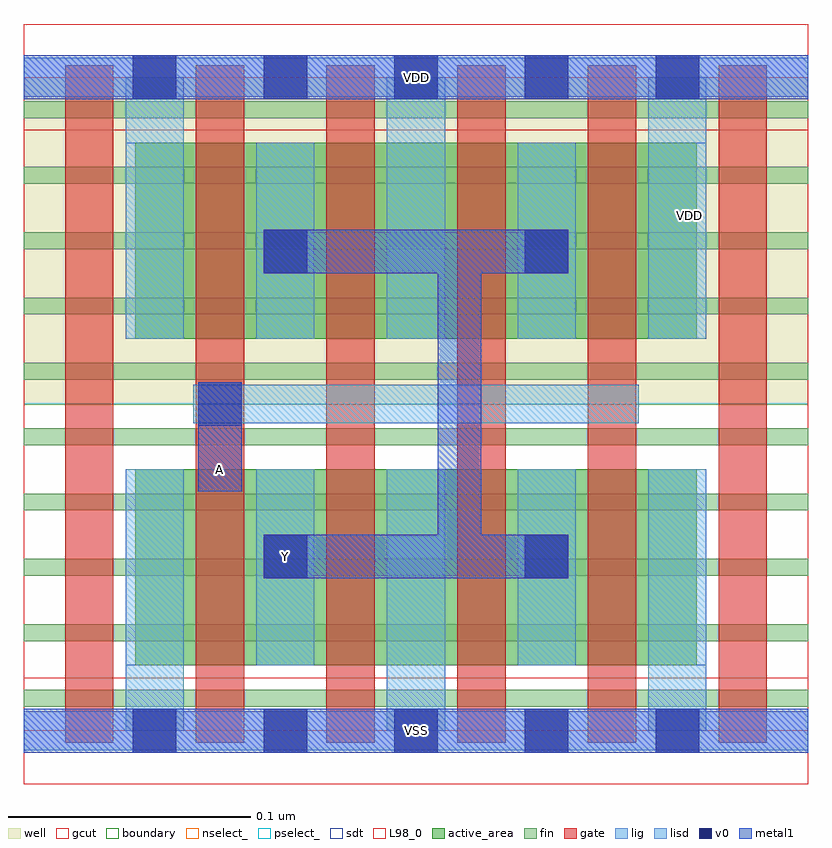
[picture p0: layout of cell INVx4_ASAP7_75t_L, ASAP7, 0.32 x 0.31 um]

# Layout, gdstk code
import gdstk
lib = gdstk.Library(unit=1e-6, precision=2.5e-10)
def R(c, l, rs):  # rectangles x0, y0, x1, y1
    for r in rs: c.add(gdstk.rectangle(r[:2], r[2:], *l))
def A(c, l, x, y, w, h, nx, ny, dx, dy):  # array of equal rectangles
    R(c, l, [(x+i*dx, y+j*dy, x+i*dx+w, y+j*dy+h) for i in range(nx) for j in range(ny)])
def P(c, l, *ps):  # polygons
    for p in ps: c.add(gdstk.Polygon(p, *l))
well = (1, 0)
fin = (2, 0)
gate = (7, 0)
gcut = (10, 0)
active_area = (11, 0)
nselect_ = (12, 0)
pselect_ = (13, 0)
lig = (16, 0)
lisd = (17, 0)
v0 = (18, 0)
metal1 = (19, 0)
sdt = (88, 0)
L98_0 = (98, 0)
boundary = (100, 0)

invx4_asap7_75t_l = lib.new_cell('INVx4_ASAP7_75t_L')
R(invx4_asap7_75t_l, well, [(0,0.135,0.324,0.27)])
A(invx4_asap7_75t_l, fin, 0, 0.01, 0.324, 0.007, 1, 10, 0, 0.027)
A(invx4_asap7_75t_l, gate, 0.017, -0.005, 0.02, 0.28, 6, 1, 0.054, 0)
R(invx4_asap7_75t_l, gcut, [(0,-0.022,0.324,0.022), (0,0.248,0.324,0.292)])
R(invx4_asap7_75t_l, active_area, [(0.046,0.027,0.278,0.108), (0.046,0.162,0.278,0.243)])
R(invx4_asap7_75t_l, nselect_, [(0,0,0.324,0.135)])
R(invx4_asap7_75t_l, pselect_, [(0,0.135,0.324,0.27)])
R(invx4_asap7_75t_l, lig, [(0,-0.008,0.324,0.008), (0.07,0.127,0.254,0.143), (0,0.262,0.324,0.278)])
A(invx4_asap7_75t_l, lisd, 0.042, 0, 0.024, 0.108, 3, 2, 0.108, 0.162)
R(invx4_asap7_75t_l, lisd, [(0.096,0.027,0.12,0.108), (0.204,0.027,0.228,0.108), (0.096,0.162,0.12,0.243), (0.204,0.162,0.228,0.243)])
A(invx4_asap7_75t_l, v0, 0.045, -0.009, 0.018, 0.018, 5, 2, 0.054, 0.27)
R(invx4_asap7_75t_l, v0, [(0.099,0.063,0.117,0.081), (0.207,0.063,0.225,0.081), (0.072,0.126,0.09,0.144), (0.099,0.189,0.117,0.207), (0.207,0.189,0.225,0.207)])
R(invx4_asap7_75t_l, metal1, [(0,-0.009,0.324,0.009), (0.072,0.099,0.09,0.144), (0,0.261,0.324,0.279)])
P(invx4_asap7_75t_l, metal1, [(0.225,0.207),(0.099,0.207),(0.099,0.189),(0.171,0.189),(0.171,0.081),(0.099,0.081),(0.099,0.063),(0.225,0.063),(0.225,0.081),(0.189,0.081),(0.189,0.189),(0.225,0.189)])
A(invx4_asap7_75t_l, sdt, 0.042, 0.027, 0.024, 0.081, 5, 2, 0.054, 0.135)
R(invx4_asap7_75t_l, L98_0, [(0,0,0.324,0.27)])
R(invx4_asap7_75t_l, boundary, [(0,0,0.324,0.27)])
invx4_asap7_75t_l.add(gdstk.Label('A', (0.081,0.108), layer=19, texttype=251))
invx4_asap7_75t_l.add(gdstk.Label('Y', (0.108,0.072), layer=19, texttype=251))
invx4_asap7_75t_l.add(gdstk.Label('VSS', (0.162,0), layer=19, texttype=251))
invx4_asap7_75t_l.add(gdstk.Label('VDD', (0.162,0.27), layer=19, texttype=251))
invx4_asap7_75t_l.add(gdstk.Label('VDD', (0.275,0.213), layer=1, texttype=251))
invx4_asap7_75t_l.add(gdstk.Label('VSS', (0.373,0.213), layer=3, texttype=251))

lib.write_gds('INVx4_ASAP7_75t_L.gds')
